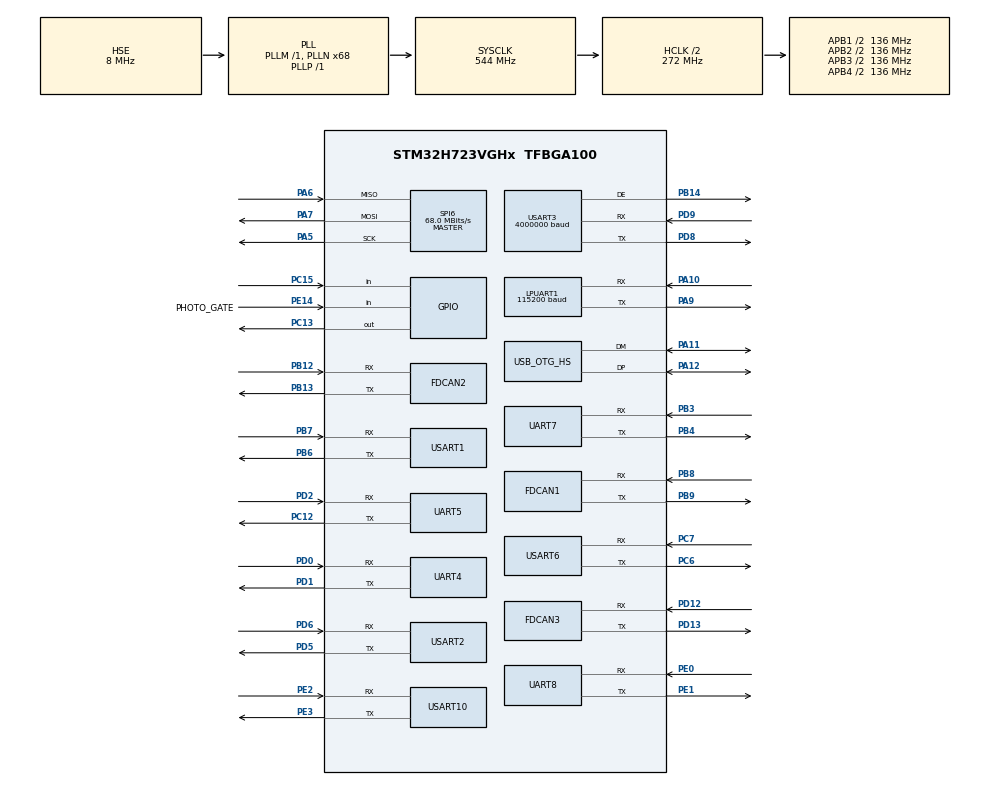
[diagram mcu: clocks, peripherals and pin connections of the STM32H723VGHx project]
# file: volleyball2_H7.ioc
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CORTEX_M7.AccessPermission_Spec=MPU_REGION_FULL_ACCESS
CORTEX_M7.MPU_Control=MPU_HFNMI_PRIVDEF
CORTEX_M7.default_mode_Activation=1
Dma.Request0=USART2_RX
Dma.Request1=USART10_RX
Dma.USART10_RX.1.Direction=DMA_PERIPH_TO_MEMORY
Dma.USART10_RX.1.EventEnable=DISABLE
Dma.USART10_RX.1.FIFOMode=DMA_FIFOMODE_DISABLE
Dma.USART10_RX.1.Instance=DMA1_Stream1
Dma.USART10_RX.1.MemDataAlignment=DMA_MDATAALIGN_BYTE
Dma.USART10_RX.1.MemInc=DMA_MINC_ENABLE
Dma.USART10_RX.1.Mode=DMA_NORMAL
Dma.USART10_RX.1.PeriphDataAlignment=DMA_PDATAALIGN_BYTE
Dma.USART10_RX.1.PeriphInc=DMA_PINC_DISABLE
Dma.USART10_RX.1.Polarity=HAL_DMAMUX_REQ_GEN_RISING
Dma.USART10_RX.1.Priority=DMA_PRIORITY_LOW
Dma.USART10_RX.1.RequestNumber=1
Dma.USART10_RX.1.SignalID=NONE
Dma.USART10_RX.1.SyncEnable=DISABLE
Dma.USART10_RX.1.SyncPolarity=HAL_DMAMUX_SYNC_NO_EVENT
Dma.USART10_RX.1.SyncRequestNumber=1
Dma.USART10_RX.1.SyncSignalID=NONE
Dma.USART2_RX.0.Direction=DMA_PERIPH_TO_MEMORY
Dma.USART2_RX.0.EventEnable=DISABLE
Dma.USART2_RX.0.FIFOMode=DMA_FIFOMODE_DISABLE
Dma.USART2_RX.0.Instance=DMA1_Stream0
Dma.USART2_RX.0.MemDataAlignment=DMA_MDATAALIGN_BYTE
Dma.USART2_RX.0.MemInc=DMA_MINC_ENABLE
Dma.USART2_RX.0.Mode=DMA_NORMAL
Dma.USART2_RX.0.PeriphDataAlignment=DMA_PDATAALIGN_BYTE
Dma.USART2_RX.0.PeriphInc=DMA_PINC_DISABLE
Dma.USART2_RX.0.Polarity=HAL_DMAMUX_REQ_GEN_RISING
Dma.USART2_RX.0.Priority=DMA_PRIORITY_LOW
Dma.USART2_RX.0.RequestNumber=1
Dma.USART2_RX.0.SignalID=NONE
Dma.USART2_RX.0.SyncEnable=DISABLE
Dma.USART2_RX.0.SyncPolarity=HAL_DMAMUX_SYNC_NO_EVENT
Dma.USART2_RX.0.SyncRequestNumber=1
Dma.USART2_RX.0.SyncSignalID=NONE
FDCAN1.AutoRetransmission=ENABLE
FDCAN1.CalculateBaudRateNominal=1000000
FDCAN1.CalculateTimeBitNominal=1000
FDCAN1.CalculateTimeQuantumNominal=14.705882352941176
FDCAN1.DataPrescaler=4
FDCAN1.DataTimeSeg1=26
FDCAN1.DataTimeSeg2=7
FDCAN1.FrameFormat=FDCAN_FRAME_CLASSIC
FDCAN1.MessageRAMOffset=0
FDCAN1.NominalPrescaler=2
FDCAN1.NominalTimeSeg1=54
FDCAN1.NominalTimeSeg2=13
FDCAN1.RxBuffersNbr=0
FDCAN1.RxFifo0ElmtsNbr=16
FDCAN1.RxFifo1ElmtsNbr=16
FDCAN1.StdFiltersNbr=1
FDCAN1.TxBuffersNbr=0
FDCAN1.TxEventsNbr=0
FDCAN1.TxFifoQueueElmtsNbr=16
FDCAN2.AutoRetransmission=ENABLE
FDCAN2.CalculateBaudRateNominal=1000000
FDCAN2.CalculateTimeBitNominal=1000
FDCAN2.CalculateTimeQuantumNominal=14.705882352941176
FDCAN2.DataPrescaler=4
FDCAN2.DataTimeSeg1=26
FDCAN2.DataTimeSeg2=7
FDCAN2.FrameFormat=FDCAN_FRAME_CLASSIC
FDCAN2.MessageRAMOffset=256
FDCAN2.NominalPrescaler=2
FDCAN2.NominalTimeSeg1=54
FDCAN2.NominalTimeSeg2=13
FDCAN2.RxBuffersNbr=0
FDCAN2.RxFifo0ElmtsNbr=16
FDCAN2.RxFifo1ElmtsNbr=16
FDCAN2.StdFiltersNbr=1
FDCAN2.TxBuffersNbr=0
FDCAN2.TxEventsNbr=0
FDCAN2.TxFifoQueueElmtsNbr=16
FDCAN3.AutoRetransmission=ENABLE
FDCAN3.CalculateBaudRateNominal=1000000
FDCAN3.CalculateTimeBitNominal=1000
FDCAN3.CalculateTimeQuantumNominal=14.705882352941176
FDCAN3.DataPrescaler=4
FDCAN3.DataTimeSeg1=26
FDCAN3.DataTimeSeg2=7
FDCAN3.FrameFormat=FDCAN_FRAME_CLASSIC
FDCAN3.MessageRAMOffset=512
FDCAN3.NominalPrescaler=2
FDCAN3.NominalTimeSeg1=54
FDCAN3.NominalTimeSeg2=13
FDCAN3.RxBuffersNbr=0
FDCAN3.RxFifo0ElmtsNbr=16
FDCAN3.RxFifo1ElmtsNbr=16
FDCAN3.StdFiltersNbr=1
FDCAN3.TxBuffersNbr=0
FDCAN3.TxEventsNbr=0
FDCAN3.TxFifoQueueElmtsNbr=16
FREERTOS.Tasks01=defaultTask,24,512,StartDefaultTask,Default,NULL,Dynamic,NULL,NULL;myTask02,24,1024,StartTask02,Default,NULL,Dynamic,NULL,NULL;myTask03,24,512,StartTask03,Default,NULL,Dynamic,NULL,NULL;myTask04,24,512,StartTask04,Default,NULL,Dynamic,NULL,NULL;myTask05,24,1024,StartTask05,Default,NULL,Dynamic,NULL,NULL;myTask06,24,512,StartTask06,Default,NULL,Dynamic,NULL,NULL;myTask07,24,512,StartTask07,Default,NULL,Dynamic,NULL,NULL
FREERTOS.configCHECK_FOR_STACK_OVERFLOW=2
FREERTOS.configENABLE_FPU=1
FREERTOS.configTOTAL_HEAP_SIZE=32768
FREERTOS.configUSE_MALLOC_FAILED_HOOK=1
FREERTOS.configUSE_TIME_SLICING=1
LPUART1.BaudRate=115200
Mcu.Family=STM32H7
Mcu.Name=STM32H723VGHx
Mcu.Package=TFBGA100
NVIC.DMA1_Stream0_IRQn=true\:5\:0\:false\:false\:true\:true\:false\:true\:true
NVIC.DMA1_Stream1_IRQn=true\:5\:0\:false\:false\:true\:true\:false\:true\:true
NVIC.FDCAN1_IT0_IRQn=true\:5\:0\:false\:false\:true\:true\:true\:true\:true
NVIC.FDCAN1_IT1_IRQn=true\:5\:0\:false\:false\:true\:true\:true\:true\:true
NVIC.FDCAN2_IT0_IRQn=true\:5\:0\:false\:false\:true\:true\:true\:true\:true
NVIC.FDCAN2_IT1_IRQn=true\:5\:0\:false\:false\:true\:true\:true\:true\:true
NVIC.FDCAN3_IT0_IRQn=true\:5\:0\:false\:false\:true\:true\:true\:true\:true
NVIC.FDCAN3_IT1_IRQn=true\:5\:0\:false\:false\:true\:true\:true\:true\:true
NVIC.PriorityGroup=NVIC_PRIORITYGROUP_4
NVIC.TIM6_DAC_IRQn=true\:15\:0\:false\:false\:true\:false\:false\:true\:true
NVIC.TimeBase=TIM6_DAC_IRQn
NVIC.TimeBaseIP=TIM6
NVIC.USART10_IRQn=true\:5\:0\:false\:false\:true\:true\:true\:true\:true
NVIC.USART1_IRQn=true\:5\:0\:false\:false\:true\:true\:true\:true\:true
NVIC.USART2_IRQn=true\:5\:0\:false\:false\:true\:true\:true\:true\:true
PA10.Mode=Asynchronous
PA10.Signal=LPUART1_RX
PA11.Mode=Device_Only_FS
PA11.Signal=USB_OTG_HS_DM
PA12.Mode=Device_Only_FS
PA12.Signal=USB_OTG_HS_DP
PA13(JTMS/SWDIO).Mode=Serial_Wire
PA13(JTMS/SWDIO).Signal=DEBUG_JTMS-SWDIO
PA14(JTCK/SWCLK).Mode=Serial_Wire
PA14(JTCK/SWCLK).Signal=DEBUG_JTCK-SWCLK
PA5.Mode=Full_Duplex_Master
PA5.Signal=SPI6_SCK
PA6.Mode=Full_Duplex_Master
PA6.Signal=SPI6_MISO
PA7.Mode=Full_Duplex_Master
PA7.Signal=SPI6_MOSI
PA9.Mode=Asynchronous
PA9.Signal=LPUART1_TX
PB12.Mode=FDCAN_Activate
PB12.Signal=FDCAN2_RX
PB13.Mode=FDCAN_Activate
PB13.Signal=FDCAN2_TX
PB14.Mode=Hardware Flow Control (RS485)
PB14.Signal=USART3_DE
PB3(JTDO/TRACESWO).Mode=Asynchronous
PB3(JTDO/TRACESWO).Signal=UART7_RX
PB4(NJTRST).Mode=Asynchronous
PB4(NJTRST).Signal=UART7_TX
PB6.Mode=Asynchronous
PB6.Signal=USART1_TX
PB7.Mode=Asynchronous
PB7.Signal=USART1_RX
PB8.Mode=FDCAN_Activate
PB8.Signal=FDCAN1_RX
PB9.Mode=FDCAN_Activate
PB9.Signal=FDCAN1_TX
PC12.Mode=Asynchronous
PC12.Signal=UART5_TX
PC13.GPIO_PuPd=GPIO_PULLUP
PC13.Signal=GPIO_Output
PC15-OSC32_OUT.Signal=GPIO_Input
PC6.Mode=Asynchronous
PC6.Signal=USART6_TX
PC7.Mode=Asynchronous
PC7.Signal=USART6_RX
PD0.Mode=Asynchronous
PD0.Signal=UART4_RX
PD1.Mode=Asynchronous
PD1.Signal=UART4_TX
PD12.Mode=FDCAN_Activate
PD12.Signal=FDCAN3_RX
PD13.Mode=FDCAN_Activate
PD13.Signal=FDCAN3_TX
PD2.Mode=Asynchronous
PD2.Signal=UART5_RX
PD5.Mode=Asynchronous
PD5.Signal=USART2_TX
PD6.Mode=Asynchronous
PD6.Signal=USART2_RX
PD8.Mode=Asynchronous
PD8.Signal=USART3_TX
PD9.Mode=Asynchronous
PD9.Signal=USART3_RX
PE0.Mode=Asynchronous
PE0.Signal=UART8_RX
PE1.Mode=Asynchronous
PE1.Signal=UART8_TX
PE14.GPIO_Label=PHOTO_GATE
PE14.GPIO_PuPd=GPIO_PULLUP
PE14.Signal=GPIO_Input
PE2.Mode=Asynchronous
PE2.Signal=USART10_RX
PE3.Mode=Asynchronous
PE3.Signal=USART10_TX
PH0-OSC_IN.Mode=HSE-External-Oscillator
PH0-OSC_IN.Signal=RCC_OSC_IN
PH1-OSC_OUT.Mode=HSE-External-Oscillator
PH1-OSC_OUT.Signal=RCC_OSC_OUT
ProjectManager.HeapSize=0x200
ProjectManager.StackSize=0x400
ProjectManager.TargetToolchain=CMake
RCC.ADCFreq_Value=16125000
RCC.APB1Freq_Value=136000000
RCC.APB2Freq_Value=136000000
RCC.APB3Freq_Value=136000000
RCC.APB4Freq_Value=136000000
RCC.CortexFreq_Value=544000000
RCC.D1PPRE=RCC_APB3_DIV2
RCC.D2PPRE1=RCC_APB1_DIV2
RCC.D2PPRE2=RCC_APB2_DIV2
RCC.D3PPRE=RCC_APB4_DIV2
RCC.DIVM1=1
RCC.DIVM3=1
RCC.DIVN1=68
RCC.DIVN3=24
RCC.DIVP1=1
RCC.DIVQ1=4
RCC.HCLKFreq_Value=272000000
RCC.HPRE=RCC_HCLK_DIV2
RCC.HSE_VALUE=8000000
RCC.PLLSourceVirtual=RCC_PLLSOURCE_HSE
RCC.SYSCLKFreq_VALUE=544000000
RCC.SYSCLKSource=RCC_SYSCLKSOURCE_PLLCLK
RCC.USBCLockSelection=RCC_USBCLKSOURCE_PLL3
RCC.USBFreq_Value=96000000
SPI6.CalculateBaudRate=68.0 MBits/s
SPI6.Direction=SPI_DIRECTION_2LINES
SPI6.Mode=SPI_MODE_MASTER
SPI6.VirtualType=VM_MASTER
USART1.VirtualMode-Asynchronous=VM_ASYNC
USART10.VirtualMode=VM_ASYNC
USART2.VirtualMode-Asynchronous=VM_ASYNC
USART3.BaudRate=4000000
USART3.VirtualMode-Asynchronous=VM_ASYNC
USART3.VirtualMode-Hardware\ Flow\ Control\ (RS485)=VM_ASYNC
USART6.VirtualMode=VM_ASYNC
USB_OTG_HS.VirtualMode-Device_Only_FS=Device_Only_FS
VP_FREERTOS_VS_CMSIS_V2.Mode=CMSIS_V2
VP_MEMORYMAP_VS_MEMORYMAP.Mode=CurAppReg
VP_SYS_VS_tim6.Mode=TIM6
VP_TIM1_VS_ClockSourceINT.Mode=Internal
board=custom

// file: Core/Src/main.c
/* USER CODE BEGIN Header */
/**
  ******************************************************************************
  * @file           : main.c
  * @brief          : Main program body
  ******************************************************************************
  * @attention
  *
  * Copyright (c) 2025 STMicroelectronics.
  * All rights reserved.
  *
  * This software is licensed under terms that can be found in the LICENSE file
  * in the root directory of this software component.
  * If no LICENSE file comes with this software, it is provided AS-IS.
  *
  ******************************************************************************
  */
/* USER CODE END Header */
#include "main.h"
#include "cmsis_os.h"
#include "dma.h"
#include "fdcan.h"
#include "usart.h"
#include "spi.h"
#include "tim.h"
#include "usb_otg.h"
#include "gpio.h"

/* USER CODE BEGIN Includes */
#include <stdio.h>
#include <string.h>
/* USER CODE END Includes */

void SystemClock_Config(void);
static void MPU_Config(void);
void MX_FREERTOS_Init(void);

int main(void)
{

  /* MPU Configuration--------------------------------------------------------*/
  MPU_Config();

  /* MCU Configuration--------------------------------------------------------*/

  /* Reset of all peripherals, Initializes the Flash interface and the Systick. */
  HAL_Init();

  /* Configure the system clock */
  SystemClock_Config();

  /* Initialize all configured peripherals */
  MX_GPIO_Init();
  MX_DMA_Init();
  MX_FDCAN1_Init();
  MX_FDCAN2_Init();
  MX_FDCAN3_Init();
  MX_SPI6_Init();
  MX_UART4_Init();
  MX_UART5_Init();
  MX_UART7_Init();
  MX_UART8_Init();
  MX_USART2_UART_Init();
  MX_USART3_UART_Init();
  MX_USART6_UART_Init();
  MX_USART10_UART_Init();
  MX_USB_OTG_HS_PCD_Init();
  MX_LPUART1_UART_Init();
  MX_USART1_UART_Init();
  MX_TIM1_Init();

  /* Init scheduler */
  osKernelInitialize();  /* Call init function for freertos objects (in cmsis_os2.c) */
  MX_FREERTOS_Init();

  /* Start scheduler */
  osKernelStart();

  /* We should never get here as control is now taken by the scheduler */

  /* Infinite loop */
  while (1)
  {

  }
}

void SystemClock_Config(void)
{
  RCC_OscInitTypeDef RCC_OscInitStruct = {0};
  RCC_ClkInitTypeDef RCC_ClkInitStruct = {0};

  /** Supply configuration update enable
  */
  HAL_PWREx_ConfigSupply(PWR_LDO_SUPPLY);

  /** Configure the main internal regulator output voltage
  */
  __HAL_PWR_VOLTAGESCALING_CONFIG(PWR_REGULATOR_VOLTAGE_SCALE0);

  while(!__HAL_PWR_GET_FLAG(PWR_FLAG_VOSRDY)) {}

  /** Initializes the RCC Oscillators according to the specified parameters
  * in the RCC_OscInitTypeDef structure.
  */
  RCC_OscInitStruct.OscillatorType = RCC_OSCILLATORTYPE_HSE;
  RCC_OscInitStruct.HSEState = RCC_HSE_ON;
  RCC_OscInitStruct.PLL.PLLState = RCC_PLL_ON;
  RCC_OscInitStruct.PLL.PLLSource = RCC_PLLSOURCE_HSE;
  RCC_OscInitStruct.PLL.PLLM = 1;
  RCC_OscInitStruct.PLL.PLLN = 68;
  RCC_OscInitStruct.PLL.PLLP = 1;
  RCC_OscInitStruct.PLL.PLLQ = 4;
  RCC_OscInitStruct.PLL.PLLR = 2;
  RCC_OscInitStruct.PLL.PLLRGE = RCC_PLL1VCIRANGE_3;
  RCC_OscInitStruct.PLL.PLLVCOSEL = RCC_PLL1VCOWIDE;
  RCC_OscInitStruct.PLL.PLLFRACN = 0;
  if (HAL_RCC_OscConfig(&RCC_OscInitStruct) != HAL_OK)
  {
    Error_Handler();
  }

  /** Initializes the CPU, AHB and APB buses clocks
  */
  RCC_ClkInitStruct.ClockType = RCC_CLOCKTYPE_HCLK|RCC_CLOCKTYPE_SYSCLK
                              |RCC_CLOCKTYPE_PCLK1|RCC_CLOCKTYPE_PCLK2
                              |RCC_CLOCKTYPE_D3PCLK1|RCC_CLOCKTYPE_D1PCLK1;
  RCC_ClkInitStruct.SYSCLKSource = RCC_SYSCLKSOURCE_PLLCLK;
  RCC_ClkInitStruct.SYSCLKDivider = RCC_SYSCLK_DIV1;
  RCC_ClkInitStruct.AHBCLKDivider = RCC_HCLK_DIV2;
  RCC_ClkInitStruct.APB3CLKDivider = RCC_APB3_DIV2;
  RCC_ClkInitStruct.APB1CLKDivider = RCC_APB1_DIV2;
  RCC_ClkInitStruct.APB2CLKDivider = RCC_APB2_DIV2;
  RCC_ClkInitStruct.APB4CLKDivider = RCC_APB4_DIV2;

  if (HAL_RCC_ClockConfig(&RCC_ClkInitStruct, FLASH_LATENCY_3) != HAL_OK)
  {
    Error_Handler();
  }
}

/* USER CODE BEGIN 4 */
int fputc(int ch, FILE *f)

{
  HAL_UART_Transmit(&huart1, (uint8_t *)&ch, 1, HAL_MAX_DELAY);
  return ch;
}

/* USER CODE END 4 */

 /* MPU Configuration */

void MPU_Config(void)
{
  MPU_Region_InitTypeDef MPU_InitStruct = {0};

  /* Disables the MPU */
  HAL_MPU_Disable();

  /** Initializes and configures the Region and the memory to be protected
  */
  MPU_InitStruct.Enable = MPU_REGION_ENABLE;
  MPU_InitStruct.Number = MPU_REGION_NUMBER0;
  MPU_InitStruct.BaseAddress = 0x0;
  MPU_InitStruct.Size = MPU_REGION_SIZE_4GB;
  MPU_InitStruct.SubRegionDisable = 0x87;
  MPU_InitStruct.TypeExtField = MPU_TEX_LEVEL0;
  MPU_InitStruct.AccessPermission = MPU_REGION_FULL_ACCESS;
  MPU_InitStruct.DisableExec = MPU_INSTRUCTION_ACCESS_DISABLE;
  MPU_InitStruct.IsShareable = MPU_ACCESS_SHAREABLE;
  MPU_InitStruct.IsCacheable = MPU_ACCESS_NOT_CACHEABLE;
  MPU_InitStruct.IsBufferable = MPU_ACCESS_NOT_BUFFERABLE;

  HAL_MPU_ConfigRegion(&MPU_InitStruct);
  /* Enables the MPU */
  HAL_MPU_Enable(MPU_HFNMI_PRIVDEF);

}

void HAL_TIM_PeriodElapsedCallback(TIM_HandleTypeDef *htim)
{
  if (htim->Instance == TIM6)
  {
    HAL_IncTick();
  }
}

void Error_Handler(void)
{
  __disable_irq();
  while (1)
  {
  }
}

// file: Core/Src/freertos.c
/* USER CODE BEGIN Header */
/**
  ******************************************************************************
  * File Name          : freertos.c
  * Description        : FreeRTOS 应用层代码，包含任务定义、初始化和业务逻辑
  ******************************************************************************
  * @attention
  *
  * Copyright (c) 2026 STMicroelectronics.
  * All rights reserved.
  *
  * This software is licensed under terms that can be found in the LICENSE file
  * in the root directory of this software component.
  * If no LICENSE file comes with this software, it is provided AS-IS.
  *
  ******************************************************************************
  */
/* USER CODE END Header */

#include "FreeRTOS.h"
#include "task.h"
#include "main.h"
#include "cmsis_os.h"

/* USER CODE BEGIN Includes */
#include <math.h>
#include <string.h>
#include <stdio.h>

// --- 板级支持包 (BSP) 与硬件驱动模块 ---
#include "fdcan_bsp.h"      // CAN 总线驱动
#include "robot_data.h"     // 全局机器人数据结构体
#include "chassis_task.h"   // 底盘控制任务
#include "mechanism_task.h" // 执行机构任务（摩擦轮/拨叉）
#include "usart.h"

// --- 遥控器协议与指令解析 ---
#include "Task_command.h"   // 提供指令处理函数
#include "remote_driver.h"  // 提供遥控器原始数据结构定义
#include "queue.h"          // FreeRTOS 队列支持
#include "semphr.h"         // FreeRTOS 信号量/互斥量支持
#include "chassis_path_task.h" // 路径规划任务
#include "Pan_Tilt_control.h"  // 云台控制

// 外部硬件句柄声明
extern FDCAN_HandleTypeDef hfdcan1;
extern FDCAN_HandleTypeDef hfdcan2;
extern FDCAN_HandleTypeDef hfdcan3;
extern UART_HandleTypeDef huart10;
/* USER CODE END Includes */

/* USER CODE BEGIN PTD */
#ifndef M_PI
#define M_PI 3.1415926535f  // 圆周率常量
#endif

// 发球力度增加步长
#define power_add 0.3
// 发球延迟时间步长 (ms)
#define time_add 1

// --- 执行机构状态枚举，分步执行发球动作 ---
typedef enum {
    ACTION_IDLE = 0, // 空闲状态，无动作
    ACTION_STEP_1,   // 执行阶段1：摩擦轮加速与拨叉抬起
    ACTION_STEP_2    // 执行阶段2：拨叉复位与摩擦轮减速
} ActionState_e;
/* USER CODE END PTD */

/* USER CODE BEGIN PD */
#define RC_BUFFER_SIZE  64  // 遥控器 DMA 接收缓冲区大小
/* USER CODE END PD */

/* USER CODE BEGIN Variables */
float time_ms = 1;                  // 发球延迟时间变量 (ms)
float PITCH = 4.06f;                // Pitch 摩擦轮初始速度

// --- FreeRTOS 内核对象定义 ---
osMutexId_t rc_mutexHandle;            // 保护全局遥控器数据 g_remote_data 的互斥量
osMessageQueueId_t remote_queueHandle; // 消息队列，用于接收串口中断的原始遥控器数据

// 互斥量属性配置
const osMutexAttr_t rc_mutex_attributes = {
  .name = "rcMutex"
};

// 检测到球的二进制信号量（目前代码中未实际使用）
osSemaphoreId_t BinarySem_BallDetectHandle;
const osSemaphoreAttr_t BinarySem_BallDetect_attributes = {
  .name = "BinarySem_BallDetect"
};

// --- 全局业务变量 ---
remote_engineer_t g_remote_data = {0}; // 全局遥控器数据，线程安全
uint8_t remote_Buffer[RC_BUFFER_SIZE]; // 遥控器 DMA 原始数据缓冲区
uint8_t processsed_command[COMMAND_LENGTH]; // 指令解析后数据缓冲区

// 外部声明的遥控器原始数据结构
extern rc_info_t rc;
/* USER CODE END Variables */
/* Definitions for defaultTask */
osThreadId_t defaultTaskHandle;
const osThreadAttr_t defaultTask_attributes = {
  .name = "defaultTask",
  .stack_size = 512 * 4,
  .priority = (osPriority_t) osPriorityNormal,
};
/* Definitions for myTask02 */
osThreadId_t myTask02Handle;
const osThreadAttr_t myTask02_attributes = {
  .name = "myTask02",
  .stack_size = 1024 * 4,
  .priority = (osPriority_t) osPriorityNormal,
};
/* Definitions for myTask03 */
osThreadId_t myTask03Handle;
const osThreadAttr_t myTask03_attributes = {
  .name = "myTask03",
  .stack_size = 512 * 4,
  .priority = (osPriority_t) osPriorityNormal,
};
/* Definitions for myTask04 */
osThreadId_t myTask04Handle;
const osThreadAttr_t myTask04_attributes = {
  .name = "myTask04",
  .stack_size = 512 * 4,
  .priority = (osPriority_t) osPriorityNormal,
};
/* Definitions for myTask05 */
osThreadId_t myTask05Handle;
const osThreadAttr_t myTask05_attributes = {
  .name = "myTask05",
  .stack_size = 1024 * 4,
  .priority = (osPriority_t) osPriorityNormal,
};
/* Definitions for myTask06 */
osThreadId_t myTask06Handle;
const osThreadAttr_t myTask06_attributes = {
  .name = "myTask06",
  .stack_size = 512 * 4,
  .priority = (osPriority_t) osPriorityNormal,
};
/* Definitions for myTask07 */
osThreadId_t myTask07Handle;
const osThreadAttr_t myTask07_attributes = {
  .name = "myTask07",
  .stack_size = 512 * 4,
  .priority = (osPriority_t) osPriorityNormal,
};

/* USER CODE BEGIN FunctionPrototypes */
static void RTOS_CheckThreadCreated(const char *name, osThreadId_t handle);

/* USER CODE END FunctionPrototypes */

void StartDefaultTask(void *argument);
void StartTask02(void *argument);
void StartTask03(void *argument);
void StartTask04(void *argument);
void StartTask05(void *argument);
void StartTask06(void *argument);
void StartTask07(void *argument);

void MX_FREERTOS_Init(void); /* (MISRA C 2004 rule 8.1) */

/**
  * @brief  FreeRTOS 初始化
  * @param  None
  * @retval None
  */
void MX_FREERTOS_Init(void) {
  /* USER CODE BEGIN Init */
  // 1. 硬件初始化（底层驱动）
  fdcan_bsp_init();     // CAN 总线底层初始化
  Robot_Data_Init();    // 全局机器人数据结构体初始化
  Chassis_Init();       // 底盘控制初始化
  Mechanism_Init();     // 执行机构初始化（摩擦轮/拨叉）

  HAL_Delay(100); // 硬件稳定延时

  // 2. 启动 CAN 总线通信
  fdcan_bsp_start(&hfdcan1);
  fdcan_bsp_start(&hfdcan2);
  fdcan_bsp_start(&hfdcan3);

  // 3. 创建互斥量，用于保护遥控器数据
  rc_mutexHandle = osMutexNew(&rc_mutex_attributes);

  // 4. 创建遥控器数据消息队列，容量16，每个元素为 UartRxMessage_t 类型
  remote_queueHandle = osMessageQueueNew(16, sizeof(UartRxMessage_t), NULL);

  /* USER CODE END Init */

  /* USER CODE BEGIN RTOS_MUTEX */
  /* 其他互斥量初始化（此处无） */
  /* USER CODE END RTOS_MUTEX */

  /* USER CODE BEGIN RTOS_SEMAPHORES */
  // 创建检测球的二进制信号量，初始值1（目前代码逻辑中未使用）
  BinarySem_BallDetectHandle = osSemaphoreNew(1, 1, &BinarySem_BallDetect_attributes);
  /* USER CODE END RTOS_SEMAPHORES */

  /* USER CODE BEGIN RTOS_TIMERS */
  /* 软件定时器初始化（此处无） */
  /* USER CODE END RTOS_TIMERS */

  /* USER CODE BEGIN RTOS_QUEUES */
  /* 其他队列初始化（此处无） */
  /* USER CODE END RTOS_QUEUES */

  /* Create the thread(s) */
  /* creation of defaultTask */
  defaultTaskHandle = osThreadNew(StartDefaultTask, NULL, &defaultTask_attributes);
  RTOS_CheckThreadCreated("defaultTask", defaultTaskHandle);

  /* creation of myTask02 */
  myTask02Handle = osThreadNew(StartTask02, NULL, &myTask02_attributes);
  RTOS_CheckThreadCreated("myTask02", myTask02Handle);

  /* creation of myTask03 */
  myTask03Handle = osThreadNew(StartTask03, NULL, &myTask03_attributes);
  RTOS_CheckThreadCreated("myTask03", myTask03Handle);

  /* creation of myTask04 */
  myTask04Handle = osThreadNew(StartTask04, NULL, &myTask04_attributes);
  RTOS_CheckThreadCreated("myTask04", myTask04Handle);

  /* creation of myTask05 */
  myTask05Handle = osThreadNew(StartTask05, NULL, &myTask05_attributes);
  RTOS_CheckThreadCreated("myTask05", myTask05Handle);

  /* creation of myTask06 */
  myTask06Handle = osThreadNew(StartTask06, NULL, &myTask06_attributes);
  RTOS_CheckThreadCreated("myTask06", myTask06Handle);

  /* creation of myTask07 */
  myTask07Handle = osThreadNew(StartTask07, NULL, &myTask07_attributes);
  RTOS_CheckThreadCreated("myTask07", myTask07Handle);

  /* USER CODE BEGIN RTOS_THREADS */
  /* 线程创建后代码（此处无） */
  /* USER CODE END RTOS_THREADS */

  /* USER CODE BEGIN RTOS_EVENTS */
  /* 事件标志组（此处无） */
  /* USER CODE END RTOS_EVENTS */

}

/* USER CODE BEGIN Header_StartDefaultTask */
/**
  * @brief  默认任务，高频率：1ms 周期
  * @param  argument: 未使用
  * @retval None
  */
/* USER CODE END Header_StartDefaultTask */
void StartDefaultTask(void *argument)
{
  /* USER CODE BEGIN StartDefaultTask */
  /* 无限循环 */
  for(;;)
  {
    Update_Virtual_Axis(); // 更新虚拟轴数据（遥控器映射）
    osDelay(1);            // 延时1ms，约1000Hz执行频率
  }
  /* USER CODE END StartDefaultTask */
}

/* USER CODE BEGIN Header_StartTask02 */
/**
* @brief  核心业务任务：底盘+机构控制，10ms 周期
* @param  argument: 未使用
* @retval None
*/
/* USER CODE END Header_StartTask02 */
void StartTask02(void *argument)
{
  /* USER CODE BEGIN StartTask02 */
  TickType_t xLastWakeTime;
  const TickType_t xFrequency = pdMS_TO_TICKS(10);
  xLastWakeTime = osKernelGetTickCount();

  remote_engineer_t local_rc = {0};
  float target_vx = 0, target_vy = 0, target_vr = 0;

  const float CUSHION_READY_DEG = 47.0f;
  const float CUSHION_ACTION_DEG = 114.0f;
  const float SERVE_READY_RAD    = 30.0f;
  const float SERVE_ACTION_RAD   = 210.0f;
  float PITCH_ANGLE = 0.0f;

  ActionState_e serve_state = ACTION_IDLE;
  uint32_t serve_start_tick = 0;

  #define DEBOUNCE_DELAY_MS 10
  static uint32_t last_time_btn5 = 0;
  static uint32_t last_time_btn2 = 0;
  static uint32_t last_time_btn4 = 0;
  static uint32_t last_time_btn1 = 0;
  static uint32_t last_time_btn3 = 0;

  static uint8_t last_button5 = 0;
  static uint8_t last_button2 = 0;
  static uint8_t last_button4 = 0;
  static uint8_t last_button1 = 0;
  static uint8_t last_button3 = 0;

  static uint8_t last_button_front = 0;
  static uint8_t last_button_back = 0;

  static chassis_mode_e last_mode = CHASSIS_MODE_STANDBY;
  static uint8_t auto_planner_initialized = 0;
  static uint8_t serve_planner_initialized = 0;
  static uint8_t serve_arrived_latched = 0;
  static float serve_target_x = 0.0f;
  static float serve_target_y = 0.0f;
  static uint32_t last_debug_tick = 0;

  printf("[task2] started\r\n");

  for(;;)
  {
      uint32_t current_tick = HAL_GetTick();

      // 获取互斥量，读取最新的遥控器数据
      if (osMutexAcquire(rc_mutexHandle, 10) == osOK) {
          local_rc = g_remote_data;
          osMutexRelease(rc_mutexHandle);
      }

      // 每200ms打印一次调试信息
      if ((current_tick - last_debug_tick) >= 200U) {
          long vx_milli = (long)(local_rc.vx * 1000.0f);
          printf("vx_milli=%ld\r\n", vx_milli);
          last_debug_tick = current_tick;
      }

      // 手动模式：遥控器直接控制底盘与机构
      if (local_rc.mode == CHASSIS_MODE_MANUAL)
      {
          // 遥控器摇杆映射到底盘速度
          target_vx = local_rc.vx / 100.0f;
          target_vy = local_rc.vy / 100.0f;
          target_vr = -local_rc.vw * 3.0f;

          // 按键5：触发发球动作状态机
          if (local_rc.button5 == 1 && last_button5 == 0) {
              if ((current_tick - last_time_btn5) > DEBOUNCE_DELAY_MS) {
                  if (serve_state == ACTION_IDLE) {
                      serve_state = ACTION_STEP_1;
                      serve_start_tick = current_tick;
                  }
                  last_time_btn5 = current_tick;
              }
          }
          last_button5 = local_rc.button5;

          // 按键2：Pitch角度增加5度
          if (local_rc.button2 == 1 && last_button2 == 0) {
              if ((current_tick - last_time_btn2) > DEBOUNCE_DELAY_MS) {
                  PITCH_ANGLE += 5.0f;
                  Mechanism_Dian_Pitch_SetAngle(PITCH_ANGLE);
                  last_time_btn2 = current_tick;
              }
          }
          last_button2 = local_rc.button2;

          // 按键4：Pitch角度减少5度
          if (local_rc.button4 == 1 && last_button4 == 0) {
              if ((current_tick - last_time_btn4) > DEBOUNCE_DELAY_MS) {
                  PITCH_ANGLE -= 5.0f;
                  Mechanism_Dian_Pitch_SetAngle(PITCH_ANGLE);
                  last_time_btn4 = current_tick;
              }
          }
          last_button4 = local_rc.button4;

          // 按键1：发球力度增加
          if (local_rc.button1 == 1 && last_button1 == 0) {
              if ((current_tick - last_time_btn1) > DEBOUNCE_DELAY_MS) {
                  PITCH += power_add;
                  last_time_btn1 = current_tick;
              }
          }
          last_button1 = local_rc.button1;

          // 按键3：发球力度减小
          if (local_rc.button3 == 1 && last_button3 == 0) {
              if ((current_tick - last_time_btn3) > DEBOUNCE_DELAY_MS) {
                  PITCH -= power_add;
                  last_time_btn3 = current_tick;
              }
          }
          last_button3 = local_rc.button3;

          // 更新底盘控制输出
          Chassis_Update(target_vx, target_vy, target_vr);
      }
      // 自动模式：路径规划自动导航
      else if (local_rc.mode == CHASSIS_MODE_AUTO)
      {
          float cur_x, cur_y, cur_yaw;
          float target_x, target_y;
          uint8_t target_updated;
          uint32_t last_update;

          // 进入临界区读取全局位姿与目标点
          taskENTER_CRITICAL();
          cur_x = g_robot_pose.x;
          cur_y = g_robot_pose.y;
          cur_yaw = g_robot_pose.angle;
          last_update = g_robot_pose.update_tick;
          target_x = g_robot_target.target_x;
          target_y = g_robot_target.target_y;
          target_updated = g_robot_target.is_updated;
          g_robot_target.is_updated = 0;
          taskEXIT_CRITICAL();

          // 如果模式切换、首次初始化或目标点更新，则重新设置规划器目标
          if ((local_rc.mode != last_mode) || !auto_planner_initialized || target_updated) {
              Planner_SetTarget(cur_x, cur_y, target_x, target_y, 0.0f);
              auto_planner_initialized = 1;
          }

          // 如果位姿长时间未更新（超过1秒），停止运动
          if (HAL_GetTick() - last_update > 1000U) {
              target_vx = 0.0f;
              target_vy = 0.0f;
              target_vr = 0.0f;
          }
          else
          {
              // 调用规划器计算速度指令
              TrajVel_t cmd = Planner_Update(cur_x, cur_y, cur_yaw);
              // 将世界坐标系速度转换为机器人坐标系
              float theta = cur_yaw * (M_PI / 180.0f);
              target_vx =  cmd.vx * cosf(theta) + cmd.vy * sinf(theta);
              target_vy = -cmd.vx * sinf(theta) + cmd.vy * cosf(theta);
              target_vr = cmd.vr;

              // 如果到达目标点，清除初始化标志
              if (Planner_IsArrived(cur_x, cur_y, cur_yaw)) {
                  auto_planner_initialized = 0;
              }
          }

          // 更新底盘控制输出
          Chassis_Update(target_vx, target_vy, target_vr);
      }
      // 发球模式：自动导航到指定点并自动发球
      else if (local_rc.mode == CHASSIS_MODE_SERVE)
      {
          float cur_x, cur_y, cur_yaw;
          uint32_t last_update;

          // 进入临界区读取全局位姿
          taskENTER_CRITICAL();
          cur_x = g_robot_pose.x;
          cur_y = g_robot_pose.y;
          cur_yaw = g_robot_pose.angle;
          last_update = g_robot_pose.update_tick;
          taskEXIT_CRITICAL();

          // 按键5：设置目标点为原点 (0, 0)
          if (local_rc.button5 == 1 && last_button5 == 0) {
              serve_target_x = 0.0f;
              serve_target_y = 0.0f;
              serve_planner_initialized = 0;
              serve_arrived_latched = 0;
          }
          last_button5 = local_rc.button5;

          // 按键2：设置目标点为 (800, 500)
          if (local_rc.button2 == 1 && last_button_front == 0) {
              serve_target_x = 800.0f;
              serve_target_y = 500.0f;
              serve_planner_initialized = 0;
              serve_arrived_latched = 0;
          }
          // 按键4：设置目标点为 (1000, 1000)
          else if (local_rc.button4 == 1 && last_button_back == 0) {
              serve_target_x = 1000.0f;
              serve_target_y = 1000.0f;
              serve_planner_initialized = 0;
              serve_arrived_latched = 0;
          }
          last_button_front = local_rc.button2;
          last_button_back = local_rc.button4;

          // 如果模式切换或首次初始化，设置规划器目标
          if ((local_rc.mode != last_mode) || !serve_planner_initialized) {
              Planner_SetTarget(cur_x, cur_y, serve_target_x, serve_target_y, 0.0f);
              serve_planner_initialized = 1;
          }

          // 如果位姿长时间未更新，停止运动
          if (HAL_GetTick() - last_update > 1000U) {
              target_vx = 0.0f;
              target_vy = 0.0f;
              target_vr = 0.0f;
          }
          else
          {
              // 调用规划器计算速度
              TrajVel_t cmd = Planner_Update(cur_x, cur_y, cur_yaw);
              // 坐标系转换
              float theta = cur_yaw * (M_PI / 180.0f);
              target_vx =  cmd.vx * cosf(theta) + cmd.vy * sinf(theta);
              target_vy = -cmd.vx * sinf(theta) + cmd.vy * cosf(theta);
              target_vr = cmd.vr;

              // 如果到达目标点，触发自动发球
              if (Planner_IsArrived(cur_x, cur_y, cur_yaw)) {
                  if (!serve_arrived_latched && serve_state == ACTION_IDLE) {
                      serve_state = ACTION_STEP_1;
                      serve_start_tick = current_tick;
                      serve_arrived_latched = 1;
                  }
              } else {
                  serve_arrived_latched = 0;
              }
          }

          // 更新底盘控制
          Chassis_Update(target_vx, target_vy, target_vr);
      }
      // 其他模式（待机）：停止运动
      else
      {
          target_vx = 0.0f;
          target_vy = 0.0f;
          target_vr = 0.0f;
          Chassis_Update(target_vx, target_vy, target_vr);
          auto_planner_initialized = 0;
          serve_planner_initialized = 0;
          serve_arrived_latched = 0;
      }

      last_mode = local_rc.mode;

      // 发球动作状态机处理
      switch (serve_state) {
          case ACTION_STEP_1:
              // 阶段1：拨叉到发球角度，摩擦轮加速
              Mechanism_Cushion_SetAngle(CUSHION_ACTION_DEG, PITCH);
              Mechanism_Serve_SetAngle(SERVE_ACTION_RAD);
              if (current_tick - serve_start_tick > 300U) {
                  serve_state = ACTION_STEP_2;
              }
              break;

          case ACTION_STEP_2:
              // 阶段2：拨叉复位，摩擦轮减速，一段时间后发球轮复位
              Mechanism_Cushion_SetAngle(CUSHION_READY_DEG, 0.3f);
              Mechanism_Serve_SetAngle(SERVE_ACTION_RAD);
              if (current_tick - serve_start_tick > 800U) {
                  Mechanism_Serve_SetAngle(SERVE_READY_RAD);
                  serve_state = ACTION_IDLE;
              }
              break;

          default:
              break;
      }

      // 精确延时，保证10ms周期
      vTaskDelayUntil(&xLastWakeTime, xFrequency);
  }
  /* USER CODE END StartTask02 */
}

/* USER CODE BEGIN Header_StartTask03 */
/**
* @brief  CAN2 发送任务：机器人位姿上报，高频率
* @param  argument: 未使用
* @retval None
*/
/* USER CODE END Header_StartTask03 */
void StartTask03(void *argument)
{
  /* USER CODE BEGIN StartTask03 */
  FDCAN_TxHeaderTypeDef TxHeader; // CAN 发送帧头
  uint8_t TxData[12];             // CAN 发送数据，12字节

  // 初始化 CAN 发送帧头
  TxHeader.Identifier = 0x101;                // 帧ID：0x101
  TxHeader.IdType = FDCAN_STANDARD_ID;        // 标准ID（11位）
  TxHeader.TxFrameType = FDCAN_DATA_FRAME;    // 数据帧
  TxHeader.DataLength = FDCAN_DLC_BYTES_12;   // 数据长度：12字节
  TxHeader.ErrorStateIndicator = FDCAN_ESI_ACTIVE; // 错误状态指示
  TxHeader.BitRateSwitch = FDCAN_BRS_ON;      // 波特率切换开启
  TxHeader.FDFormat = FDCAN_FD_CAN;           // FD CAN 格式
  TxHeader.TxEventFifoControl = FDCAN_NO_TX_EVENTS; // 不保存发送事件
  TxHeader.MessageMarker = 0;                 // 消息标记：0

  /* 无限循环 */
  for(;;)
  {
      float temp_x, temp_y, temp_angle;

      // 进入临界区读取位姿，防止多线程冲突
      taskENTER_CRITICAL();
      temp_x = g_robot_pose.x;
      temp_y = g_robot_pose.y;
      temp_angle = g_robot_pose.angle;
      taskEXIT_CRITICAL();

      // 数据打包：Float 转 Byte
      memcpy(&TxData[0], &temp_x, 4);     // 0-3字节：X坐标 (float)
      memcpy(&TxData[4], &temp_y, 4);     // 4-7字节：Y坐标 (float)
      memcpy(&TxData[8], &temp_angle, 4); // 8-11字节：偏航角 (float)

      // 发送到 CAN2 总线
      HAL_FDCAN_AddMessageToTxFifoQ(&hfdcan2, &TxHeader, TxData);
      osDelay(1); // 约1000Hz发送频率
  }
  /* USER CODE END StartTask03 */
}

/* USER CODE BEGIN Header_StartTask04 */
/**
* @brief  遥控器数据解析任务：处理从 DMA 接收到的原始数据
* @param  argument: 未使用
* @retval None
*/
/* USER CODE END Header_StartTask04 */
void StartTask04(void *argument)
{
  /* USER CODE BEGIN StartTask04 */
  // 初始化 UART10 DMA 循环接收，ReceiveToIdle 模式，等待空闲中断
  HAL_UARTEx_ReceiveToIdle_DMA(&huart10, remote_Buffer, RC_BUFFER_SIZE);
  // 禁用 DMA 半满中断，只需要一帧数据结束后的中断
  __HAL_DMA_DISABLE_IT(huart10.hdmarx, DMA_IT_HT);

  UartRxMessage_t rx_msg;        // 用于接收消息结构体
  remote_engineer_t temp_rc;     // 临时遥控器数据

  // 检查队列是否创建成功
  if (remote_queueHandle == NULL)
  {
      printf("[RTOS] remote_queue create failed\r\n");
      taskDISABLE_INTERRUPTS();
      for (;;)
      {
      }
  }

  /* 无限循环 */
  for(;;)
  {
      // 阻塞等待消息队列，数据来自串口中断
      if (osMessageQueueGet(remote_queueHandle, &rx_msg, NULL, osWaitForever) == osOK)
      {
          // 将原始数据写入指令解析器
          Command_Write(rx_msg.data, rx_msg.size);

          // 循环解析出所有有效指令
          while (Command_GetCommand(processsed_command) != 0)
          {
              code_unzipread(processsed_command);   // 解包遥控器按键
              Remote_Data_Convert(&rc, &temp_rc);   // 转换为标准数据格式

              // 线程安全地更新全局遥控器数据
              if (osMutexAcquire(rc_mutexHandle, 10) == osOK)
              {
                  g_remote_data = temp_rc;
                  osMutexRelease(rc_mutexHandle);
              }
          }
      }
  }
  /* USER CODE END StartTask04 */
}

/* USER CODE BEGIN Header_StartTask05 */
/**
* @brief  发球任务：检测到球触发发射机构
* @param  argument: 未使用
* @retval None
*/
/* USER CODE END Header_StartTask05 */
void StartTask05(void *argument)
{
  /* USER CODE BEGIN StartTask05 */
  // 发球机构参数定义
  #define CUSHION_READY_DEG   47.0f    // 初始角度
  #define CUSHION_SPEED      2.06f     // 初始速度
  #define ACTION_HOLD_MS      800      // 动作保持时间 (ms)
  const float CUSHION_ACTION_DEG = 114.0f; // 发射角度

  printf("[task5] started\r\n");

  osDelay(1000); // 系统启动延时，等待硬件稳定

  // 初始化发球机构，回到初始位置，重复两次确保到位
  Mechanism_Cushion_SetAngle(CUSHION_READY_DEG, CUSHION_SPEED);
  osDelay(500);
  Mechanism_Cushion_SetAngle(CUSHION_READY_DEG, CUSHION_SPEED);
  printf("System Ready. Angle reset.\r\n"); // 系统就绪提示

  /* 无限循环 */
  for(;;)
  {
    // 1. 读取光电门信号，低电平表示检测到球
    if (HAL_GPIO_ReadPin(PHOTO_GATE_GPIO_Port, PHOTO_GATE_Pin) == GPIO_PIN_RESET)
    {
        osDelay(5); // 硬件消抖5ms
        if (HAL_GPIO_ReadPin(PHOTO_GATE_GPIO_Port, PHOTO_GATE_Pin) == GPIO_PIN_RESET)
        {
            // 限制延时时间不为负
            if(time_ms < 0)
            {
                time_ms = 0;
            }
            osDelay((uint32_t)time_ms); // 发球延时时间控制

            // === 检测到球，执行发射动作 ===
            printf("Ball detected! Action!\r\n");

            // 拨叉发射动作
            Mechanism_Cushion_SetAngle(CUSHION_ACTION_DEG, PITCH);
            osDelay(ACTION_HOLD_MS); // 保持一段时间确保球发出

            // 拨叉复位
            Mechanism_Cushion_SetAngle(CUSHION_READY_DEG, 0.3f);

            // 等待球离开光电门，防止重复触发
            while (HAL_GPIO_ReadPin(PHOTO_GATE_GPIO_Port, PHOTO_GATE_Pin) == GPIO_PIN_RESET)
            {
                osDelay(10);
            }

            osDelay(500); // 复位稳定延时
            printf("Ready.\r\n"); // 就绪提示
        }
    }
    // 循环检测，间隔500ms
    osDelay(500);
  }
  /* USER CODE END StartTask05 */
}

/* USER CODE BEGIN Header_StartTask06 */
/**
* @brief  执行机构循环任务：1ms 周期更新电机状态
* @param  argument: 未使用
* @retval None
*/
/* USER CODE END Header_StartTask06 */
void StartTask06(void *argument)
{
  /* USER CODE BEGIN StartTask06 */
  /* 无限循环 */
  for(;;)
  {
    Mechanism_Loop_1ms(); // 执行机构1ms周期处理（接收/状态更新）
    osDelay(1);           // 1ms 延时
  }
  /* USER CODE END StartTask06 */
}

/* USER CODE BEGIN Header_StartTask07 */
/**
* @brief  CAN3 发送任务：云台角度上报，1ms 周期
* @param  argument: 未使用
* @retval None
*/
/* USER CODE END Header_StartTask07 */
void StartTask07(void *argument)
{
  /* USER CODE BEGIN StartTask07 */
  FDCAN_TxHeaderTypeDef TxHeader; // CAN 发送帧头
  uint8_t TxData[12];             // 发送数据缓冲区

  // 初始化 CAN 发送帧头
  TxHeader.Identifier = CAN_ID_PC_FEEDBACK; // 帧ID：0x300（PC反馈专用）
  TxHeader.IdType = FDCAN_STANDARD_ID;      // 标准ID
  TxHeader.TxFrameType = FDCAN_DATA_FRAME;  // 数据帧
  TxHeader.DataLength = FDCAN_DLC_BYTES_8;  // 数据长度：8字节
  TxHeader.ErrorStateIndicator = FDCAN_ESI_ACTIVE;
  TxHeader.BitRateSwitch = FDCAN_BRS_OFF;   // 关闭波特率切换，使用经典CAN
  TxHeader.FDFormat = FDCAN_CLASSIC_CAN;    // 经典CAN格式
  TxHeader.TxEventFifoControl = FDCAN_NO_TX_EVENTS;
  TxHeader.MessageMarker = 0;

  // 准备精确延时开始时间，1ms周期
  TickType_t xLastWakeTime = osKernelGetTickCount();
  const TickType_t xFrequency = pdMS_TO_TICKS(1); // 1ms执行一次

  /* 无限循环 */
  for(;;)
  {
      uint32_t current_timestamp = HAL_GetTick(); // 当前时间戳 (ms)
      float yaw_angle = 0.0f;                     // 云台 Yaw 角度
      float pitch_angle = 0.0f;                   // 云台 Pitch 角度

      // 获取云台实时角度
      gimbal_get_angles(&yaw_angle, &pitch_angle);

      // 数据压缩：角度*100转为int16_t，保留两位小数
      int16_t yaw_send   = (int16_t)(yaw_angle * 100.0f);
      int16_t pitch_send = (int16_t)(pitch_angle * 100.0f);

      // 数据打包
      memcpy(&TxData[0], &current_timestamp, 4); // 0-3字节：时间戳 (uint32_t)
      memcpy(&TxData[4], &yaw_send, 2);          // 4-5字节：Yaw角度 (int16_t)
      memcpy(&TxData[6], &pitch_send, 2);        // 6-7字节：Pitch角度 (int16_t)

      // 发送到 CAN3 总线
      HAL_FDCAN_AddMessageToTxFifoQ(&hfdcan3, &TxHeader, TxData);

      // 精确延时，保证1ms周期
      vTaskDelayUntil(&xLastWakeTime, xFrequency);
  }
  /* USER CODE END StartTask07 */
}

/* USER CODE BEGIN Application */
/**
  * @brief  检查线程是否创建成功，失败则死循环
  * @param  name: 线程名称
  * @param  handle: 线程句柄
  * @retval None
  */
static void RTOS_CheckThreadCreated(const char *name, osThreadId_t handle)
{
    if (handle == NULL)
    {
        printf("[RTOS] create %s failed, free_heap=%lu\r\n", name, (unsigned long)xPortGetFreeHeapSize());
        taskDISABLE_INTERRUPTS();
        for (;;)
        {
        }
    }
}

/**
  * @brief  内存分配失败钩子函数
  * @param  None
  * @retval None
  */
#if (configUSE_MALLOC_FAILED_HOOK == 1)
void vApplicationMallocFailedHook(void)
{
    printf("[RTOS] malloc failed, free_heap=%lu\r\n", (unsigned long)xPortGetFreeHeapSize());
    taskDISABLE_INTERRUPTS();
    for (;;)
    {
    }
}
#endif

/**
  * @brief  栈溢出钩子函数
  * @param  xTask: 任务句柄
  * @param  pcTaskName: 任务名称
  * @retval None
  */
#if (configCHECK_FOR_STACK_OVERFLOW > 0)
void vApplicationStackOverflowHook(TaskHandle_t xTask, signed char *pcTaskName)
{
    (void)xTask;
    printf("[RTOS] stack overflow: %s\r\n", (pcTaskName != NULL) ? (char *)pcTaskName : "unknown");
    taskDISABLE_INTERRUPTS();
    for (;;)
    {
    }
}
#endif

/* -------------------------------------------------------------------------
// 串口 DMA 接收空闲中断回调函数，用于接收遥控器原始数据
// ------------------------------------------------------------------------- */
void HAL_UARTEx_RxEventCallback(UART_HandleTypeDef *huart, uint16_t Size) {

    if (huart->Instance == USART10) { // 判断是否为 USART10（遥控器串口）
        UartRxMessage_t rx_msg;
        // 数据长度保护，防止缓冲区溢出
        uint16_t copy_size = (Size < sizeof(rx_msg.data)) ? Size : sizeof(rx_msg.data);

        // 复制接收到的数据到消息结构体
        memcpy(rx_msg.data, remote_Buffer, copy_size);
        rx_msg.size = copy_size;

        BaseType_t xHigherPriorityTaskWoken = pdFALSE;

        // 在中断中发送消息到队列
        xQueueSendFromISR(remote_queueHandle, &rx_msg, &xHigherPriorityTaskWoken);

        // 重新开启 DMA 接收，循环接收
        HAL_UARTEx_ReceiveToIdle_DMA(huart, remote_Buffer, RC_BUFFER_SIZE);
        __HAL_DMA_DISABLE_IT(huart->hdmarx, DMA_IT_HT);

        // 触发任务切换（如果需要）
        portYIELD_FROM_ISR(xHigherPriorityTaskWoken);
    }
}

/**
  * @brief  串口错误回调函数，用于数据接收出错时恢复
  * @param  huart: 串口句柄
  * @retval None
  */
void HAL_UART_ErrorCallback(UART_HandleTypeDef *huart)
{
    if (huart->Instance == USART10) {
        // 清除错误标志（奇偶校验/帧错误/溢出/噪声）
        __HAL_UART_CLEAR_FLAG(huart, UART_FLAG_PE | UART_FLAG_FE | UART_FLAG_ORE | UART_FLAG_NE);
        // 重新开启 DMA 接收，恢复通信
        HAL_UARTEx_ReceiveToIdle_DMA(huart, remote_Buffer, RC_BUFFER_SIZE);
    }
}
/* USER CODE END Application */
